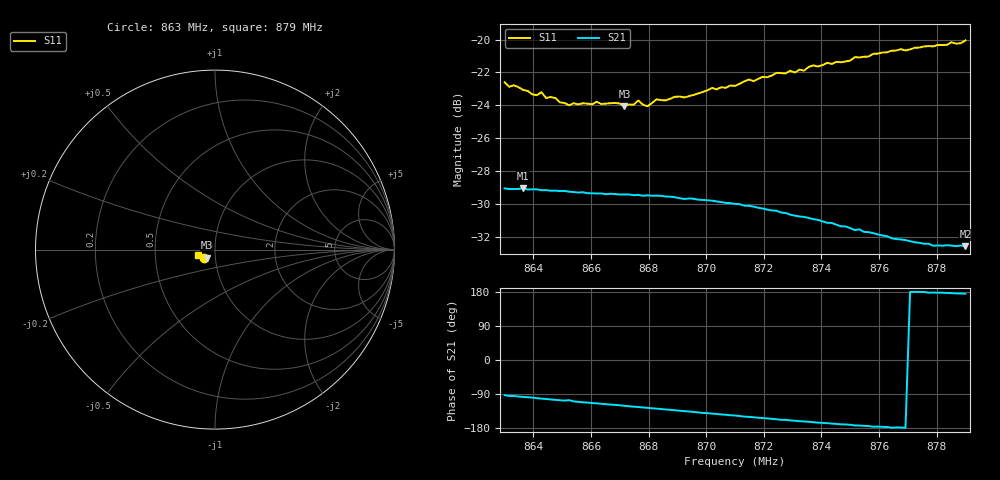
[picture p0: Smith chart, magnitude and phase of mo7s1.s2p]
# HZ S RI R 50
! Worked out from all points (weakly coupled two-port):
!   101 points, 863 MHz to 879 MHz, reference 50 ohm
!   highest |S21| = -29.04 dB at 863.64 MHz (marker M1); lowest = -32.6 dB at 879 MHz (marker M2)
!   lowest |S11| = -24.1 dB at 867.16 MHz (marker M3), VSWR 1.13, Z = 45.7 - j4.21 ohm
!   |S11| at or under -10 dB: start of sweep to end of sweep
!   S12 and S22 are empty: the file has one direction only
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8.63e8  -0.0594 -0.0443  -0.00163 -0.0352  0 0  0 0
8.6316e8  -0.0551 -0.046  -0.00307 -0.035  0 0  0 0
8.6364e8  -0.054 -0.045  -0.00456 -0.035  0 0  0 0
8.6412e8  -0.0511 -0.0445  -0.00652 -0.0344  0 0  0 0
8.6428e8  -0.0515 -0.0462  -0.00721 -0.034  0 0  0 0
8.6444e8  -0.0501 -0.0435  -0.00774 -0.0339  0 0  0 0
8.6476e8  -0.05 -0.0437  -0.00908 -0.0335  0 0  0 0
8.6524e8  -0.0455 -0.0437  -0.00948 -0.0331  0 0  0 0
8.6572e8  -0.046 -0.0445  -0.0126 -0.0319  0 0  0 0
8.6684e8  -0.0439 -0.0467  -0.0162 -0.0298  0 0  0 0
8.6716e8  -0.0427 -0.0458  -0.0174 -0.029  0 0  0 0
8.6764e8  -0.0446 -0.0476  -0.0189 -0.0279  0 0  0 0
8.6796e8  -0.0421 -0.0464  -0.0199 -0.0271  0 0  0 0
8.6828e8  -0.043 -0.0498  -0.0208 -0.0263  0 0  0 0
8.6844e8  -0.0429 -0.0493  -0.0213 -0.0258  0 0  0 0
8.71e8  -0.0478 -0.0542  -0.0264 -0.0175  0 0  0 0
8.7244e8  -0.0552 -0.0568  -0.0276 -0.0121  0 0  0 0
8.734e8  -0.0581 -0.0555  -0.0275 -0.00882  0 0  0 0
8.7372e8  -0.0609 -0.0571  -0.0273 -0.00776  0 0  0 0
8.7644e8  -0.0788 -0.0484  -0.0248 -0.000537  0 0  0 0
8.7788e8  -0.0867 -0.0395  -0.0236 0.000802  0 0  0 0
8.79e8  -0.0938 -0.0327  -0.0234 0.00205  0 0  0 0
